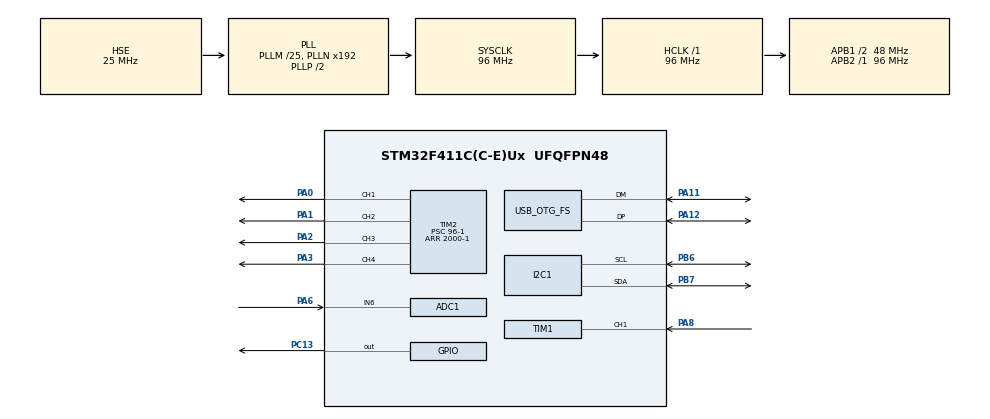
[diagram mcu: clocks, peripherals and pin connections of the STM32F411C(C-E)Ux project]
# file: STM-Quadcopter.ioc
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ADC1.Channel-0\#ChannelRegularConversion=ADC_CHANNEL_6
ADC1.ExternalTrigConv=ADC_EXTERNALTRIGCONV_T3_TRGO
ADC1.NbrOfConversion=1
ADC1.NbrOfConversionFlag=1
ADC1.Rank-0\#ChannelRegularConversion=1
ADC1.SamplingTime-0\#ChannelRegularConversion=ADC_SAMPLETIME_480CYCLES
ADC1.master=1
Dma.I2C1_RX.0.Direction=DMA_PERIPH_TO_MEMORY
Dma.I2C1_RX.0.FIFOMode=DMA_FIFOMODE_DISABLE
Dma.I2C1_RX.0.Instance=DMA1_Stream0
Dma.I2C1_RX.0.MemDataAlignment=DMA_MDATAALIGN_BYTE
Dma.I2C1_RX.0.MemInc=DMA_MINC_ENABLE
Dma.I2C1_RX.0.Mode=DMA_NORMAL
Dma.I2C1_RX.0.PeriphDataAlignment=DMA_PDATAALIGN_BYTE
Dma.I2C1_RX.0.PeriphInc=DMA_PINC_DISABLE
Dma.I2C1_RX.0.Priority=DMA_PRIORITY_LOW
Dma.Request0=I2C1_RX
Mcu.Family=STM32F4
Mcu.Name=STM32F411C(C-E)Ux
Mcu.Package=UFQFPN48
NVIC.ADC_IRQn=true\:0\:0\:false\:false\:true\:true\:true\:true
NVIC.DMA1_Stream0_IRQn=true\:0\:0\:false\:false\:true\:false\:true\:true
NVIC.OTG_FS_IRQn=true\:0\:0\:false\:false\:true\:false\:true\:true
NVIC.PriorityGroup=NVIC_PRIORITYGROUP_4
NVIC.TIM1_CC_IRQn=true\:0\:0\:false\:false\:true\:true\:true\:true
PA0-WKUP.Signal=S_TIM2_CH1_ETR
PA1.Signal=S_TIM2_CH2
PA11.Mode=Device_Only
PA11.Signal=USB_OTG_FS_DM
PA12.Mode=Device_Only
PA12.Signal=USB_OTG_FS_DP
PA2.Signal=S_TIM2_CH3
PA3.Signal=S_TIM2_CH4
PA6.Signal=ADCx_IN6
PA8.Signal=S_TIM1_CH1
PB6.Mode=I2C
PB6.Signal=I2C1_SCL
PB7.Mode=I2C
PB7.Signal=I2C1_SDA
PC13-ANTI_TAMP.Signal=GPIO_Output
PC14-OSC32_IN.Mode=LSE-External-Oscillator
PC14-OSC32_IN.Signal=RCC_OSC32_IN
PC15-OSC32_OUT.Mode=LSE-External-Oscillator
PC15-OSC32_OUT.Signal=RCC_OSC32_OUT
PH0\ -\ OSC_IN.Mode=HSE-External-Oscillator
PH0\ -\ OSC_IN.Signal=RCC_OSC_IN
PH1\ -\ OSC_OUT.Mode=HSE-External-Oscillator
PH1\ -\ OSC_OUT.Signal=RCC_OSC_OUT
ProjectManager.HeapSize=0x200
ProjectManager.StackSize=0x400
ProjectManager.TargetToolchain=Makefile
RCC.48MHZClocksFreq_Value=48000000
RCC.AHBFreq_Value=96000000
RCC.APB1CLKDivider=RCC_HCLK_DIV2
RCC.APB1Freq_Value=48000000
RCC.APB1TimFreq_Value=96000000
RCC.APB2Freq_Value=96000000
RCC.APB2TimFreq_Value=96000000
RCC.CortexFreq_Value=96000000
RCC.HCLKFreq_Value=96000000
RCC.HSE_VALUE=25000000
RCC.HSI_VALUE=16000000
RCC.PLLM=25
RCC.SYSCLKFreq_VALUE=96000000
RCC.SYSCLKSource=RCC_SYSCLKSOURCE_PLLCLK
RCC.VCOOutputFreq_Value=192000000
SH.ADCx_IN6.0=ADC1_IN6,IN6
SH.S_TIM1_CH1.0=TIM1_CH1,Input_Capture1_from_TI1
SH.S_TIM2_CH1_ETR.0=TIM2_CH1,PWM Generation1 CH1
SH.S_TIM2_CH2.0=TIM2_CH2,PWM Generation2 CH2
SH.S_TIM2_CH3.0=TIM2_CH3,PWM Generation3 CH3
SH.S_TIM2_CH4.0=TIM2_CH4,PWM Generation4 CH4
TIM1.Channel-Input_Capture1_from_TI1=TIM_CHANNEL_1
TIM1.Prescaler=96-1
TIM2.Channel-PWM\ Generation1\ CH1=TIM_CHANNEL_1
TIM2.Channel-PWM\ Generation2\ CH2=TIM_CHANNEL_2
TIM2.Channel-PWM\ Generation3\ CH3=TIM_CHANNEL_3
TIM2.Channel-PWM\ Generation4\ CH4=TIM_CHANNEL_4
TIM2.Period=2000-1
TIM2.Prescaler=96-1
TIM3.Channel-PWM\ Generation1\ No\ Output=TIM_CHANNEL_1
TIM3.Period=100-1
TIM3.Prescaler=9600-1
TIM3.TIM_MasterOutputTrigger=TIM_TRGO_UPDATE
USB_DEVICE.CLASS_NAME_FS=CDC
USB_DEVICE.VirtualMode=Cdc
USB_DEVICE.VirtualModeFS=Cdc_FS
USB_OTG_FS.VirtualMode=Device_Only
VP_TIM1_VS_ClockSourceINT.Mode=Internal
VP_TIM2_VS_ClockSourceINT.Mode=Internal
VP_TIM3_VS_ClockSourceINT.Mode=Internal
VP_TIM3_VS_no_output1.Mode=PWM Generation1 No Output
VP_USB_DEVICE_VS_USB_DEVICE_CDC_FS.Mode=CDC_FS
board=custom

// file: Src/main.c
/* USER CODE BEGIN Header */
/**
  ******************************************************************************
  * @file           : main.c
  * @brief          : Main program body
  ******************************************************************************
  * @attention
  *
  * Copyright (c) 2022 STMicroelectronics.
  * All rights reserved.
  *
  * This software is licensed under terms that can be found in the LICENSE file
  * in the root directory of this software component.
  * If no LICENSE file comes with this software, it is provided AS-IS.
  *
  ******************************************************************************
  */
/* USER CODE END Header */
#include "main.h"
#include "usb_device.h"

/* USER CODE BEGIN Includes */
#include "BatteryMeasure4SLiPo.h"
#include "FS-IA10B_driver.h"
#include "MPU6050.h"
#include "Drone.h"
#include "ESCController.h"

extern uint8_t CDC_Transmit_FS(uint8_t* Buf, uint16_t Len);

/* USER CODE END Includes */

ADC_HandleTypeDef hadc1;

I2C_HandleTypeDef hi2c1;
DMA_HandleTypeDef hdma_i2c1_rx;

TIM_HandleTypeDef htim1;
TIM_HandleTypeDef htim2;
TIM_HandleTypeDef htim3;

/* USER CODE BEGIN PV */

Drone drone;

Battery bat;
MPU6050 mpu;
FSIA10B receiver;
ESC_4Channels motors;

/* USER CODE END PV */

void SystemClock_Config(void);
static void MX_GPIO_Init(void);
static void MX_DMA_Init(void);
static void MX_ADC1_Init(void);
static void MX_I2C1_Init(void);
static void MX_TIM1_Init(void);
static void MX_TIM2_Init(void);
static void MX_TIM3_Init(void);

int main(void)
{

  /* MCU Configuration--------------------------------------------------------*/

  /* Reset of all peripherals, Initializes the Flash interface and the Systick. */
  HAL_Init();

  /* Configure the system clock */
  SystemClock_Config();

  /* Initialize all configured peripherals */
  MX_GPIO_Init();
  MX_DMA_Init();
  MX_ADC1_Init();
  MX_I2C1_Init();
  MX_TIM1_Init();
  MX_TIM2_Init();
  MX_TIM3_Init();
  MX_USB_DEVICE_Init();
  /* USER CODE BEGIN 2 */

  // Some issues with I2C and power on maybe not fully initialised???
  HAL_Delay(200);

  HAL_StatusTypeDef error;

  Drone_initialise(&drone, &motors, &bat, &mpu, &receiver);

  // Start TIM for PPM input
  FSIA10B_setup(&receiver);
  receiver.htim = &htim1;
  error = HAL_TIM_IC_Start_IT(&htim1, TIM_CHANNEL_1);

  // Start timer and ADC for battery measurment
  HAL_ADC_Start_IT(&hadc1);
  error = HAL_TIM_PWM_Start(&htim3, TIM_CHANNEL_1);
  __HAL_TIM_CLEAR_FLAG(&htim3, TIM_FLAG_UPDATE);

  bat.resistor_one = 100000;
  bat.resistor_two = 22000;

  motors.pwm_tim = &htim2;
  motors.min_throttle = 1000;
  motors.max_throttle = 2000;

  ESC_setup(&motors);
  // ESC_arm(&motors);

  // Setup MPU for reading
  FusionAhrs ahrs;

  mpu.MPU_Accel_Range = MPU_ACCEL_SCALE_RANGE_16G;
  mpu.MPU_Gyro_Range = MPU_GYRO_SCALE_RANGE_2000;

  setupMPU6050(&mpu, &hi2c1, &ahrs);

  // Flash variable
  uint32_t lastFlash = HAL_GetTick();

  uint32_t loopCount = 0;

  MPU6050_ReadDataDMA(&mpu);

  /* USER CODE END 2 */

  /* Infinite loop */
  while (1)
  {

    /* USER CODE BEGIN 3 */

    MPU6050_DMALoop(&mpu);

    const FusionQuaternion quat = FusionAhrsGetQuaternion(&ahrs);

    // #define Q quat.element
    //   printf("%0.3f/%0.3f/%0.3f/%0.3f\n", Q.w, Q.x, Q.y, Q.z);
    // #undef Q

    Drone_run(&drone);

    if(HAL_GetTick() - lastFlash > 1000){

      // printf("Loop Count = %ld\n", loopCount);
      // printf("ADC - %.2f\n", bat.voltage);
      // printf("1 - %4d, 2 - %4d, 3 - %4d, 4 - %4d, 5 - %4d, 6 - %4d, 7 - %4d, 8 - %4d\n",
      //       receiver.channels[0], receiver.channels[1], receiver.channels[2], receiver.channels[3],
      //       receiver.channels[4], receiver.channels[5], receiver.channels[6], receiver.channels[7]);
      // #define Q quat.element
      //   printf("%0.3f/%0.3f/%0.3f/%0.3f\n", Q.w, Q.x, Q.y, Q.z);
      // #undef Q

      HAL_GPIO_TogglePin(GPIOC, GPIO_PIN_13);
      lastFlash = HAL_GetTick();

      loopCount = 0;
    }

    loopCount++;
  }
  /* USER CODE END 3 */
}

void SystemClock_Config(void)
{
  RCC_OscInitTypeDef RCC_OscInitStruct = {0};
  RCC_ClkInitTypeDef RCC_ClkInitStruct = {0};

  /** Configure the main internal regulator output voltage
  */
  __HAL_RCC_PWR_CLK_ENABLE();
  __HAL_PWR_VOLTAGESCALING_CONFIG(PWR_REGULATOR_VOLTAGE_SCALE1);

  /** Initializes the RCC Oscillators according to the specified parameters
  * in the RCC_OscInitTypeDef structure.
  */
  RCC_OscInitStruct.OscillatorType = RCC_OSCILLATORTYPE_HSE;
  RCC_OscInitStruct.HSEState = RCC_HSE_ON;
  RCC_OscInitStruct.PLL.PLLState = RCC_PLL_ON;
  RCC_OscInitStruct.PLL.PLLSource = RCC_PLLSOURCE_HSE;
  RCC_OscInitStruct.PLL.PLLM = 25;
  RCC_OscInitStruct.PLL.PLLN = 192;
  RCC_OscInitStruct.PLL.PLLP = RCC_PLLP_DIV2;
  RCC_OscInitStruct.PLL.PLLQ = 4;
  if (HAL_RCC_OscConfig(&RCC_OscInitStruct) != HAL_OK)
  {
    Error_Handler();
  }

  /** Initializes the CPU, AHB and APB buses clocks
  */
  RCC_ClkInitStruct.ClockType = RCC_CLOCKTYPE_HCLK|RCC_CLOCKTYPE_SYSCLK
                              |RCC_CLOCKTYPE_PCLK1|RCC_CLOCKTYPE_PCLK2;
  RCC_ClkInitStruct.SYSCLKSource = RCC_SYSCLKSOURCE_PLLCLK;
  RCC_ClkInitStruct.AHBCLKDivider = RCC_SYSCLK_DIV1;
  RCC_ClkInitStruct.APB1CLKDivider = RCC_HCLK_DIV2;
  RCC_ClkInitStruct.APB2CLKDivider = RCC_HCLK_DIV1;

  if (HAL_RCC_ClockConfig(&RCC_ClkInitStruct, FLASH_LATENCY_3) != HAL_OK)
  {
    Error_Handler();
  }
}

static void MX_ADC1_Init(void)
{

  ADC_ChannelConfTypeDef sConfig = {0};

  /** Configure the global features of the ADC (Clock, Resolution, Data Alignment and number of conversion)
  */
  hadc1.Instance = ADC1;
  hadc1.Init.ClockPrescaler = ADC_CLOCK_SYNC_PCLK_DIV4;
  hadc1.Init.Resolution = ADC_RESOLUTION_12B;
  hadc1.Init.ScanConvMode = DISABLE;
  hadc1.Init.ContinuousConvMode = DISABLE;
  hadc1.Init.DiscontinuousConvMode = DISABLE;
  hadc1.Init.ExternalTrigConvEdge = ADC_EXTERNALTRIGCONVEDGE_RISING;
  hadc1.Init.ExternalTrigConv = ADC_EXTERNALTRIGCONV_T3_TRGO;
  hadc1.Init.DataAlign = ADC_DATAALIGN_RIGHT;
  hadc1.Init.NbrOfConversion = 1;
  hadc1.Init.DMAContinuousRequests = DISABLE;
  hadc1.Init.EOCSelection = ADC_EOC_SINGLE_CONV;
  if (HAL_ADC_Init(&hadc1) != HAL_OK)
  {
    Error_Handler();
  }

  /** Configure for the selected ADC regular channel its corresponding rank in the sequencer and its sample time.
  */
  sConfig.Channel = ADC_CHANNEL_6;
  sConfig.Rank = 1;
  sConfig.SamplingTime = ADC_SAMPLETIME_480CYCLES;
  if (HAL_ADC_ConfigChannel(&hadc1, &sConfig) != HAL_OK)
  {
    Error_Handler();
  }

}

static void MX_I2C1_Init(void)
{

  hi2c1.Instance = I2C1;
  hi2c1.Init.ClockSpeed = 100000;
  hi2c1.Init.DutyCycle = I2C_DUTYCYCLE_2;
  hi2c1.Init.OwnAddress1 = 0;
  hi2c1.Init.AddressingMode = I2C_ADDRESSINGMODE_7BIT;
  hi2c1.Init.DualAddressMode = I2C_DUALADDRESS_DISABLE;
  hi2c1.Init.OwnAddress2 = 0;
  hi2c1.Init.GeneralCallMode = I2C_GENERALCALL_DISABLE;
  hi2c1.Init.NoStretchMode = I2C_NOSTRETCH_DISABLE;
  if (HAL_I2C_Init(&hi2c1) != HAL_OK)
  {
    Error_Handler();
  }

}

static void MX_TIM1_Init(void)
{

  TIM_ClockConfigTypeDef sClockSourceConfig = {0};
  TIM_MasterConfigTypeDef sMasterConfig = {0};
  TIM_IC_InitTypeDef sConfigIC = {0};

  htim1.Instance = TIM1;
  htim1.Init.Prescaler = 96-1;
  htim1.Init.CounterMode = TIM_COUNTERMODE_UP;
  htim1.Init.Period = 65535;
  htim1.Init.ClockDivision = TIM_CLOCKDIVISION_DIV1;
  htim1.Init.RepetitionCounter = 0;
  htim1.Init.AutoReloadPreload = TIM_AUTORELOAD_PRELOAD_DISABLE;
  if (HAL_TIM_Base_Init(&htim1) != HAL_OK)
  {
    Error_Handler();
  }
  sClockSourceConfig.ClockSource = TIM_CLOCKSOURCE_INTERNAL;
  if (HAL_TIM_ConfigClockSource(&htim1, &sClockSourceConfig) != HAL_OK)
  {
    Error_Handler();
  }
  if (HAL_TIM_IC_Init(&htim1) != HAL_OK)
  {
    Error_Handler();
  }
  sMasterConfig.MasterOutputTrigger = TIM_TRGO_RESET;
  sMasterConfig.MasterSlaveMode = TIM_MASTERSLAVEMODE_DISABLE;
  if (HAL_TIMEx_MasterConfigSynchronization(&htim1, &sMasterConfig) != HAL_OK)
  {
    Error_Handler();
  }
  sConfigIC.ICPolarity = TIM_INPUTCHANNELPOLARITY_RISING;
  sConfigIC.ICSelection = TIM_ICSELECTION_DIRECTTI;
  sConfigIC.ICPrescaler = TIM_ICPSC_DIV1;
  sConfigIC.ICFilter = 0;
  if (HAL_TIM_IC_ConfigChannel(&htim1, &sConfigIC, TIM_CHANNEL_1) != HAL_OK)
  {
    Error_Handler();
  }

}

static void MX_TIM2_Init(void)
{

  TIM_ClockConfigTypeDef sClockSourceConfig = {0};
  TIM_MasterConfigTypeDef sMasterConfig = {0};
  TIM_OC_InitTypeDef sConfigOC = {0};

  /* USER CODE BEGIN TIM2_Init 1 */

  /**
   * Input clock = 96MHz
   * Prescale by 96MHz down to 1MHz
   * Then we have a period of 20,000 pulses to give a 50Hz signal (20ms length)
   */

  /* USER CODE END TIM2_Init 1 */
  htim2.Instance = TIM2;
  htim2.Init.Prescaler = 96-1;
  htim2.Init.CounterMode = TIM_COUNTERMODE_UP;
  htim2.Init.Period = 2000-1;
  htim2.Init.ClockDivision = TIM_CLOCKDIVISION_DIV1;
  htim2.Init.AutoReloadPreload = TIM_AUTORELOAD_PRELOAD_DISABLE;
  if (HAL_TIM_Base_Init(&htim2) != HAL_OK)
  {
    Error_Handler();
  }
  sClockSourceConfig.ClockSource = TIM_CLOCKSOURCE_INTERNAL;
  if (HAL_TIM_ConfigClockSource(&htim2, &sClockSourceConfig) != HAL_OK)
  {
    Error_Handler();
  }
  if (HAL_TIM_PWM_Init(&htim2) != HAL_OK)
  {
    Error_Handler();
  }
  sMasterConfig.MasterOutputTrigger = TIM_TRGO_RESET;
  sMasterConfig.MasterSlaveMode = TIM_MASTERSLAVEMODE_DISABLE;
  if (HAL_TIMEx_MasterConfigSynchronization(&htim2, &sMasterConfig) != HAL_OK)
  {
    Error_Handler();
  }
  sConfigOC.OCMode = TIM_OCMODE_PWM1;
  sConfigOC.Pulse = 0;
  sConfigOC.OCPolarity = TIM_OCPOLARITY_HIGH;
  sConfigOC.OCFastMode = TIM_OCFAST_DISABLE;
  if (HAL_TIM_PWM_ConfigChannel(&htim2, &sConfigOC, TIM_CHANNEL_1) != HAL_OK)
  {
    Error_Handler();
  }
  if (HAL_TIM_PWM_ConfigChannel(&htim2, &sConfigOC, TIM_CHANNEL_2) != HAL_OK)
  {
    Error_Handler();
  }
  if (HAL_TIM_PWM_ConfigChannel(&htim2, &sConfigOC, TIM_CHANNEL_3) != HAL_OK)
  {
    Error_Handler();
  }
  if (HAL_TIM_PWM_ConfigChannel(&htim2, &sConfigOC, TIM_CHANNEL_4) != HAL_OK)
  {
    Error_Handler();
  }
  HAL_TIM_MspPostInit(&htim2);

}

static void MX_TIM3_Init(void)
{

  TIM_ClockConfigTypeDef sClockSourceConfig = {0};
  TIM_MasterConfigTypeDef sMasterConfig = {0};
  TIM_OC_InitTypeDef sConfigOC = {0};

  htim3.Instance = TIM3;
  htim3.Init.Prescaler = 9600-1;
  htim3.Init.CounterMode = TIM_COUNTERMODE_UP;
  htim3.Init.Period = 100-1;
  htim3.Init.ClockDivision = TIM_CLOCKDIVISION_DIV1;
  htim3.Init.AutoReloadPreload = TIM_AUTORELOAD_PRELOAD_DISABLE;
  if (HAL_TIM_Base_Init(&htim3) != HAL_OK)
  {
    Error_Handler();
  }
  sClockSourceConfig.ClockSource = TIM_CLOCKSOURCE_INTERNAL;
  if (HAL_TIM_ConfigClockSource(&htim3, &sClockSourceConfig) != HAL_OK)
  {
    Error_Handler();
  }
  if (HAL_TIM_PWM_Init(&htim3) != HAL_OK)
  {
    Error_Handler();
  }
  sMasterConfig.MasterOutputTrigger = TIM_TRGO_UPDATE;
  sMasterConfig.MasterSlaveMode = TIM_MASTERSLAVEMODE_DISABLE;
  if (HAL_TIMEx_MasterConfigSynchronization(&htim3, &sMasterConfig) != HAL_OK)
  {
    Error_Handler();
  }
  sConfigOC.OCMode = TIM_OCMODE_PWM1;
  sConfigOC.Pulse = 0;
  sConfigOC.OCPolarity = TIM_OCPOLARITY_HIGH;
  sConfigOC.OCFastMode = TIM_OCFAST_DISABLE;
  if (HAL_TIM_PWM_ConfigChannel(&htim3, &sConfigOC, TIM_CHANNEL_1) != HAL_OK)
  {
    Error_Handler();
  }

}

static void MX_DMA_Init(void)
{

  /* DMA controller clock enable */
  __HAL_RCC_DMA1_CLK_ENABLE();

  /* DMA interrupt init */
  /* DMA1_Stream0_IRQn interrupt configuration */
  HAL_NVIC_SetPriority(DMA1_Stream0_IRQn, 0, 0);
  HAL_NVIC_EnableIRQ(DMA1_Stream0_IRQn);

}

static void MX_GPIO_Init(void)
{
  GPIO_InitTypeDef GPIO_InitStruct = {0};

  /* GPIO Ports Clock Enable */
  __HAL_RCC_GPIOC_CLK_ENABLE();
  __HAL_RCC_GPIOH_CLK_ENABLE();
  __HAL_RCC_GPIOA_CLK_ENABLE();
  __HAL_RCC_GPIOB_CLK_ENABLE();

  /*Configure GPIO pin Output Level */
  HAL_GPIO_WritePin(GPIOC, GPIO_PIN_13, GPIO_PIN_RESET);

  /*Configure GPIO pin : PC13 */
  GPIO_InitStruct.Pin = GPIO_PIN_13;
  GPIO_InitStruct.Mode = GPIO_MODE_OUTPUT_PP;
  GPIO_InitStruct.Pull = GPIO_NOPULL;
  GPIO_InitStruct.Speed = GPIO_SPEED_FREQ_LOW;
  HAL_GPIO_Init(GPIOC, &GPIO_InitStruct);

}

/* USER CODE BEGIN 4 */

void HAL_TIM_IC_CaptureCallback(TIM_HandleTypeDef *htim){
  if(htim->Channel == HAL_TIM_ACTIVE_CHANNEL_1){
    FSIA10B_INT(&receiver, htim);
  }
}

void HAL_ADC_ConvCpltCallback(ADC_HandleTypeDef *hadc){
  BatteryADCIRQ(hadc, &bat);
}

void HAL_I2C_MemRxCpltCallback(I2C_HandleTypeDef *hi2c){
  MPU6050_DMAReadCplt(&mpu);
}

int _write(int file, char *ptr, int len)
{
    UNUSED(file);
    CDC_Transmit_FS((uint8_t*)ptr, len);
    return len;
}

/* USER CODE END 4 */

void Error_Handler(void)
{
  __disable_irq();
  while (1)
  {
  }
}
